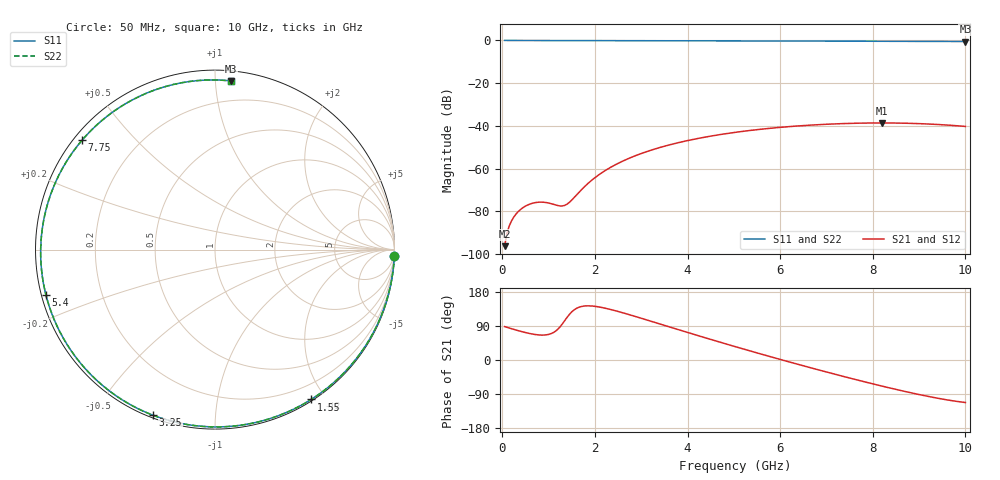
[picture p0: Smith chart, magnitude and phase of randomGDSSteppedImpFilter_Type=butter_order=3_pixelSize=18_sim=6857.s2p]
! freq	dB(S11)	phase(S11)	dB(S12)	phase(S12)
!  dB(S21)	phase(S21)	dB(S22)	phase(S22)
!S-par simulation data
#  GHz  S  DB  R 50
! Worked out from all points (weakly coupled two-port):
!   200 points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, 50 MHz to 10 GHz, reference 50 ohm
!   highest |S21| = -38.59 dB at 8.2 GHz (marker M1); lowest = -96.2 dB at 50 MHz (marker M2)
!   lowest |S11| = -0.5 dB at 10 GHz (marker M3), VSWR 34.69, Z = 3.18 + j54.9 ohm
!   |S11| at or under -10 dB: nowhere
!   |S22| runs from -0.5 to 0.0 dB; largest |S21 - S12| = 0
!   S11 on the Smith chart (normalised r, x): 50 MHz: 0, -59; 1.55 GHz: 0.02, -1.83; 3.25 GHz: 0.01, -0.69; 5.4 GHz: 0.01, -0.13; 7.75 GHz: 0.02, +0.36; 10 GHz: 0.06, +1.10
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0.05  -0.00 -1.9  -96.24 88.1  -96.24 88.1  -0.00 -1.9
0.35  -0.02 -13.4  -79.93 77.2  -79.93 77.2  -0.02 -13.4
0.55  -0.03 -21.0  -76.96 71.0  -76.96 71.0  -0.03 -20.9
0.75  -0.04 -28.4  -75.74 66.6  -75.74 66.6  -0.04 -28.4
1.3  -0.06 -48.5  -77.42 95.7  -77.42 95.7  -0.06 -48.5
1.4  -0.06 -52.0  -76.55 112.8  -76.55 112.8  -0.06 -52.0
1.55  -0.07 -57.3  -73.52 132.2  -73.52 132.2  -0.07 -57.3
1.75  -0.08 -64.1  -68.93 142.1  -68.93 142.1  -0.08 -64.1
2.05  -0.09 -74.1  -63.39 140.8  -63.39 140.8  -0.09 -74.1
2.4  -0.10 -85.3  -58.63 131.4  -58.63 131.4  -0.10 -85.3
3.25  -0.13 -110.5  -51.07 100.8  -51.07 100.8  -0.13 -110.5
3.4  -0.13 -114.7  -50.09 95.2  -50.09 95.2  -0.13 -114.7
4.25  -0.16 -137.1  -45.74 63.5  -45.74 63.5  -0.16 -137.1
5.05  -0.20 -156.8  -42.93 34.5  -42.93 34.5  -0.20 -156.8
5.4  -0.22 -165.1  -41.98 22.2  -41.98 22.2  -0.22 -165.0
6.05  -0.25 179.8  -40.56 -0.2  -40.56 -0.2  -0.25 179.9
6.7  -0.29 164.9  -39.55 -21.9  -39.55 -21.9  -0.29 164.9
7.75  -0.36 140.5  -38.68 -55.4  -38.68 -55.4  -0.36 140.6
8.2  -0.39 129.8  -38.59 -68.9  -38.59 -68.9  -0.39 129.9
8.35  -0.40 126.2  -38.61 -73.3  -38.61 -73.3  -0.40 126.3
9.2  -0.45 105.2  -39.08 -96.2  -39.08 -96.2  -0.45 105.2
10  -0.50 84.6  -40.22 -112.2  -40.22 -112.2  -0.50 84.6
